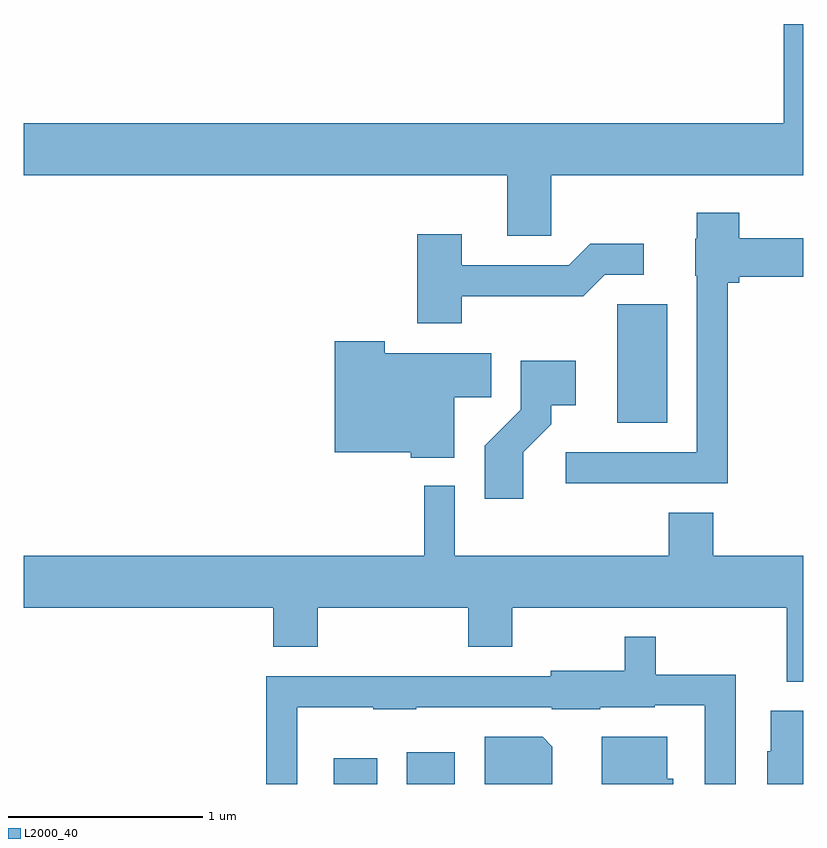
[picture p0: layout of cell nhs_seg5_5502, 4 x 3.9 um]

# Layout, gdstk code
import gdstk
lib = gdstk.Library(unit=1e-6, precision=1e-09)
def R(c, l, rs):  # rectangles x0, y0, x1, y1
    for r in rs: c.add(gdstk.rectangle(r[:2], r[2:], *l))
def P(c, l, *ps):  # polygons
    for p in ps: c.add(gdstk.Polygon(p, *l))
L2000_40 = (2000, 40)

nhs_seg5_5502 = lib.new_cell('nhs_seg5_5502')
R(nhs_seg5_5502, L2000_40, [(349.201,1498.072,349.424,1498.204), (349.576,1498.072,349.824,1498.234), (350.656,1499.926,350.914,1500.534)])
P(nhs_seg5_5502, L2000_40, [(350.319,1501.196),(351.611,1501.196),(351.611,1501.973),(351.511,1501.973),(351.511,1501.464),(347.611,1501.464),(347.611,1501.196),(350.091,1501.196),(350.091,1500.886),(350.319,1500.886)],
  [(351.224,1500.646),(351.284,1500.646),(351.284,1500.676),(351.611,1500.676),(351.611,1500.874),(351.284,1500.874),(351.284,1501.004),(351.066,1501.004),(351.066,1500.87),(351.056,1500.87),(351.056,1500.68),(351.066,1500.68),(351.066,1499.774),(350.393,1499.774),(350.393,1499.616),(351.224,1499.616)],
  [(349.859,1500.576),(350.482,1500.576),(350.592,1500.686),(350.793,1500.686),(350.793,1500.844),(350.519,1500.844),(350.409,1500.734),(349.859,1500.734),(349.859,1500.894),(349.631,1500.894),(349.631,1500.436),(349.859,1500.436)],
  [(349.819,1500.056),(350.009,1500.056),(350.009,1500.284),(349.464,1500.284),(349.464,1500.344),(349.206,1500.344),(349.206,1499.776),(349.596,1499.776),(349.596,1499.746),(349.819,1499.746)],
  [(350.174,1499.774),(350.319,1499.919),(350.319,1500.016),(350.444,1500.016),(350.444,1500.244),(350.161,1500.244),(350.161,1499.992),(349.976,1499.807),(349.976,1499.536),(350.174,1499.536)],
  [(351.611,1499.244),(351.149,1499.244),(351.149,1499.464),(350.921,1499.464),(350.921,1499.244),(349.824,1499.244),(349.824,1499.603),(349.666,1499.603),(349.666,1499.244),(347.611,1499.244),(347.611,1498.976),(348.891,1498.976),(348.891,1498.776),(349.119,1498.776),(349.119,1498.976),(349.891,1498.976),(349.891,1498.776),(350.119,1498.776),(350.119,1498.976),(351.526,1498.976),(351.526,1498.598),(351.611,1498.598)],
  [(349.014,1498.466),(349.405,1498.466),(349.405,1498.456),(349.625,1498.456),(349.625,1498.466),(350.32,1498.466),(350.32,1498.456),(350.57,1498.456),(350.57,1498.466),(350.85,1498.466),(350.85,1498.476),(351.106,1498.476),(351.106,1498.072),(351.264,1498.072),(351.264,1498.634),(350.854,1498.634),(350.854,1498.828),(350.696,1498.828),(350.696,1498.654),(350.316,1498.654),(350.316,1498.624),(348.856,1498.624),(348.856,1498.072),(349.014,1498.072)],
  [(351.611,1498.449),(351.446,1498.449),(351.446,1498.239),(351.426,1498.239),(351.426,1498.072),(351.611,1498.072)],
  [(350.324,1498.264),(350.274,1498.314),(349.976,1498.314),(349.976,1498.072),(350.324,1498.072)],
  [(350.944,1498.099),(350.914,1498.099),(350.914,1498.314),(350.576,1498.314),(350.576,1498.072),(350.944,1498.072)])

lib.write_gds('nhs_seg5_5502.gds')
